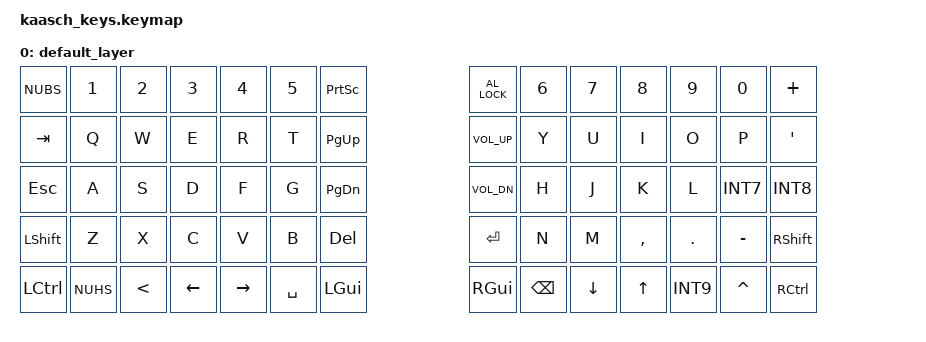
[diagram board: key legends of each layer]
#include <behaviors.dtsi>
#include <dt-bindings/zmk/keys.h>

/ {
    keymap {
        compatible = "zmk,keymap";

        default_layer {
            bindings = <
				&kp NUBS   &kp N1	&kp N2   &kp N3   &kp N4   &kp N5   &kp PSCRN			    &kp C_AL_LOCK  &kp N6   &kp N7   &kp N8    &kp N9   &kp N0    &kp PLUS
                &kp TAB    &kp Q    &kp W    &kp E    &kp R    &kp T    &kp PG_UP			    &kp C_VOL_UP   &kp Y    &kp U    &kp I     &kp O    &kp P     &kp APOS
                &kp ESC    &kp A    &kp S    &kp D    &kp F    &kp G    &kp PG_DN			    &kp C_VOL_DN   &kp H    &kp J    &kp K     &kp L    &kp INT7  &kp INT8
                &kp LSHIFT &kp Z    &kp X    &kp C    &kp V    &kp B         &kp DELETE		&kp RETURN         &kp N    &kp M    &kp COMMA &kp DOT  &kp MINUS &kp RSHIFT
                &kp LCTRL  &kp NUHS &kp LT   &kp LEFT &kp RIGHT    &kp SPACE &kp LGUI		&kp RGUI    &kp BSPC        &kp DOWN &kp UP    &kp INT9 &kp CARET &kp RCTRL
            >;
        };
    };
};
